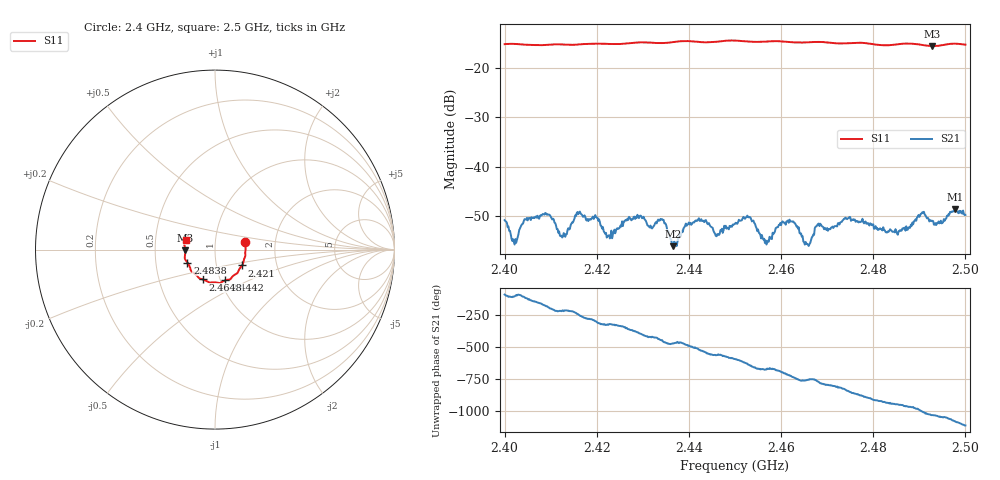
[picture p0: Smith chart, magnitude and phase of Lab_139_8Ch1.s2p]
# Hz S RI R 50
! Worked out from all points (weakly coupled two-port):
!   601 points, 2.4 GHz to 2.5 GHz, reference 50 ohm
!   highest |S21| = -48.60 dB at 2.4978 GHz (marker M1); lowest = -56.0 dB at 2.4365 GHz (marker M2)
!   lowest |S11| = -15.6 dB at 2.4928 GHz (marker M3), VSWR 1.40, Z = 35.8 - j0.367 ohm
!   |S11| at or under -10 dB: start of sweep to end of sweep
!   S12 and S22 are empty: the file has one direction only
!   S11 on the Smith chart (normalised r, x): 2.4 GHz: 1.40, +0.12; 2.421 GHz: 1.33, -0.24; 2.4442 GHz: 1.05, -0.37; 2.4648 GHz: 0.83, -0.28; 2.4838 GHz: 0.73, -0.11; 2.5 GHz: 0.72, +0.08
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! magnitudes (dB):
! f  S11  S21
! 2.4 GHz  -15.2  -50.8
! 2.4022 GHz  -15.2  -55.7
! 2.4048 GHz  -15.4  -50.3
! 2.4093 GHz  -15.4  -49.6
! 2.4127 GHz  -15.3  -54.1
! 2.4167 GHz  -15.2  -49.6
! 2.421 GHz  -15.1  -52.0
! 2.4333 GHz  -15.0  -50.7
! 2.4365 GHz  -14.8  -56.0
! 2.4442 GHz  -14.9  -51.6
! 2.45 GHz  -14.5  -51.5
! 2.453 GHz  -14.7  -50.2
! 2.4568 GHz  -14.7  -55.7
! 2.4623 GHz  -14.8  -51.0
! 2.4648 GHz  -14.9  -55.1
! 2.4667 GHz  -14.8  -54.3
! 2.4745 GHz  -15.0  -50.4
! 2.4833 GHz  -15.5  -53.1
! 2.4838 GHz  -15.4  -52.8
! 2.4928 GHz  -15.6  -50.9
! 2.4978 GHz  -15.1  -48.6
! 2.5 GHz  -15.3  -49.7
